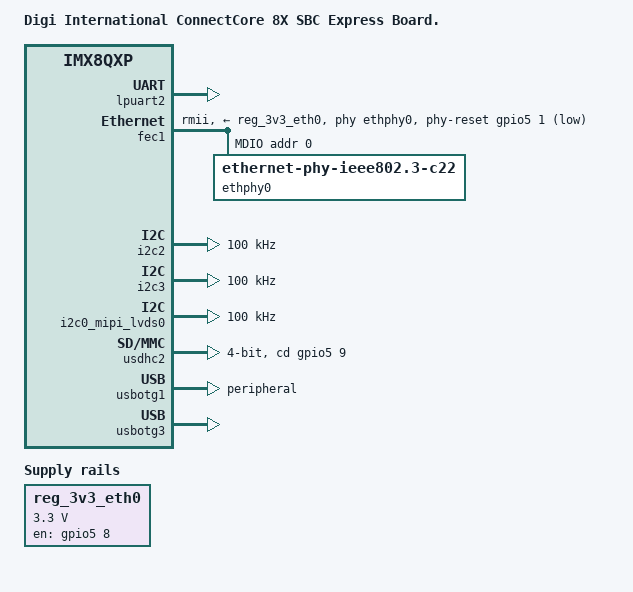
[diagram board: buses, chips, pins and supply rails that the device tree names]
/*
 * Copyright 2018 Digi International, Inc.
 *
 * The code contained herein is licensed under the GNU General Public
 * License. You may obtain a copy of the GNU General Public License
 * Version 2 or later at the following locations:
 *
 * http://www.opensource.org/licenses/gpl-license.html
 * http://www.gnu.org/copyleft/gpl.html
 */

/dts-v1/;

/* First 128KB is for PSCI ATF. */
/* Last 127M is for M4/RPMSG */
/memreserve/ 0x80000000 0x08000000;

/* i.MX8QXP CPU */
#include "fsl-imx8qxp.dtsi"
/* Digi ConnectCore 8X SOM */
#include "ccimx8x.dtsi"
/* Digi ConnectCore 8X SBC Express */
#include "ccimx8x-sbc-express-u-boot.dtsi"

/ {
	model = "Digi International ConnectCore 8X SBC Express Board.";
	compatible = "digi,ccimx8x-sbc-express", "digi,ccimx8x", "fsl,imx8qxp";
	digi,machine,name = "ccimx8x-sbc-express";

	chosen {
		bootargs = "console=ttyLP2,115200 earlycon=lpuart32,0x5a080000,115200";
		stdout-path = &lpuart2;
	};

	regulators {
		compatible = "simple-bus";
		#address-cells = <1>;
		#size-cells = <0>;

		reg_3v3_eth0: 3v3_eth0 {
			compatible = "regulator-fixed";
			regulator-name = "3V3_ETH0";
			regulator-min-microvolt = <3300000>;
			regulator-max-microvolt = <3300000>;
			gpio = <&gpio5 8 GPIO_ACTIVE_HIGH>;
			enable-active-high;
		};
	};

	thermal-zones {
		cpu-thermal0 {
			polling-delay-passive = <250>;
			polling-delay = <2000>;
			thermal-sensors = <&tsens 0>;
			trips {
				cpu_alert0: trip0 {
					temperature = <85000>;
					hysteresis = <2000>;
					type = "passive";
				};
				cpu_crit0: trip1 {
					temperature = <100000>;
					hysteresis = <2000>;
					type = "critical";
				};
			};
		};
	};

	mca_gpio_uboot: mca_gpio {
		compatible = "digi,mca-gpio";
		gpio-controller;
	};
};

&lpuart2 {
	pinctrl-names = "default";
	pinctrl-0 = <&pinctrl_lpuart2>;
	status = "okay";
};

&fec1 {
	pinctrl-names = "default";
	pinctrl-0 = <&pinctrl_fec1>, <&pinctrl_fec1_gpio>;
	phy-mode = "rmii";
	phy-handle = <&ethphy0>;
	phy-supply = <&reg_3v3_eth0>;
	phy-reset-gpios = <&gpio5 1 GPIO_ACTIVE_LOW>;
	phy-reset-duration = <26>;
	fsl,magic-packet;
	status = "okay";

	mdio {
		#address-cells = <1>;
		#size-cells = <0>;

		ethphy0: ethernet-phy@0 {
			compatible = "ethernet-phy-ieee802.3-c22";
			reg = <0>;
		};
	};
};

/* I2C2 available on Raspberry Pi expansion header */
&i2c2 {
	#address-cells = <1>;
	#size-cells = <0>;
	clock-frequency = <100000>;
	pinctrl-names = "default";
	pinctrl-0 = <&pinctrl_lpi2c2>;
	status = "okay";
};

/* I2C3 available on Raspberry Pi expansion header */
&i2c3 {
	#address-cells = <1>;
	#size-cells = <0>;
	clock-frequency = <100000>;
	pinctrl-names = "default";
	pinctrl-0 = <&pinctrl_lpi2c3>;
	status = "okay";
};

&i2c0_mipi_lvds0 {
	#address-cells = <1>;
	#size-cells = <0>;
	pinctrl-names = "default";
	pinctrl-0 = <&pinctrl_i2c0_mipi_lvds0>;
	clock-frequency = <100000>;
	status = "okay";
};

&usdhc2 {
	pinctrl-names = "default", "state_100mhz", "state_200mhz";
	pinctrl-0 = <&pinctrl_usdhc2>, <&pinctrl_usdhc2_gpio>;
	pinctrl-1 = <&pinctrl_usdhc2_100mhz>, <&pinctrl_usdhc2_gpio>;
	pinctrl-2 = <&pinctrl_usdhc2_200mhz>, <&pinctrl_usdhc2_gpio>;
	bus-width = <4>;
	no-1-8-v;
	cd-gpios = <&gpio5 9 GPIO_ACTIVE_HIGH>;
	status = "okay";
};

&usbotg1 {
	dr_mode = "peripheral";
	status = "okay";
};

&usbotg3 {
	status = "okay";
};

&iomuxc {
	pinctrl-names = "default";
	ccimx8x {

		pinctrl_lpuart2: lpuart2grp {
			fsl,pins = <
				SC_P_UART2_RX_ADMA_UART2_RX	0x06000020
				SC_P_UART2_TX_ADMA_UART2_TX	0x06000020
			>;
		};

		pinctrl_fec1_gpio: fec1gpiogrp {
			fsl,pins = <
				/* PHY reset */
				SC_P_ENET0_RGMII_TXD2_LSIO_GPIO5_IO01	0x06000021
				/* PHY power */
				SC_P_ENET0_RGMII_RXD3_LSIO_GPIO5_IO08	0x06000021
				/* PHY interrupt */
				SC_P_ENET0_RGMII_TXD3_LSIO_GPIO5_IO02	0x06000021
			>;
		};
		pinctrl_fec1: fec1grp {
			fsl,pins = <
				/*
				 * The SCFW of B0 defaults ENET0 domains to 2.5V:
				 * - VDD_ENET0_1P8_2P5_3P3
				 * - VDD_ENET0_VSELECT_1P8_2P5_3P3
				 * Turn the domains back to 1.8/3.3V detector
				 */
				SC_P_COMP_CTL_GPIO_1V8_3V3_ENET_ENETB0_PAD	0x000014a0
				SC_P_COMP_CTL_GPIO_1V8_3V3_ENET_ENETB1_PAD	0x000014a0

				/* Pad settings for ENET RMII */
				SC_P_ENET0_MDC_CONN_ENET0_MDC			0x06000048
				SC_P_ENET0_MDIO_CONN_ENET0_MDIO			0x06000048
				SC_P_ENET0_RGMII_TX_CTL_CONN_ENET0_RGMII_TX_CTL	0x06000048
				SC_P_ENET0_RGMII_TXC_CONN_ENET0_RCLK50M_OUT	0x06000048
				SC_P_ENET0_RGMII_TXD0_CONN_ENET0_RGMII_TXD0	0x06000048
				SC_P_ENET0_RGMII_TXD1_CONN_ENET0_RGMII_TXD1	0x06000048
				SC_P_ENET0_RGMII_RXD2_CONN_ENET0_RMII_RX_ER	0x06000048
				SC_P_ENET0_RGMII_RX_CTL_CONN_ENET0_RGMII_RX_CTL	0x06000048
				SC_P_ENET0_RGMII_RXD0_CONN_ENET0_RGMII_RXD0	0x06000048
				SC_P_ENET0_RGMII_RXD1_CONN_ENET0_RGMII_RXD1	0x06000048
			>;
		};

		pinctrl_lpi2c2: lpi2c2grp {
			fsl,pins = <
				SC_P_MIPI_DSI1_GPIO0_00_ADMA_I2C2_SCL	0x06000020
				SC_P_MIPI_DSI1_GPIO0_01_ADMA_I2C2_SDA	0x06000020
			>;
		};

		pinctrl_lpi2c3: lpi2c3grp {
			fsl,pins = <
				SC_P_SPI3_CS1_ADMA_I2C3_SCL	0x06000020
				SC_P_MCLK_IN1_ADMA_I2C3_SDA	0x06000020
			>;
		};

		pinctrl_usdhc2_gpio: usdhc2gpiogrp {
			fsl,pins = <
				SC_P_ENET0_REFCLK_125M_25M_LSIO_GPIO5_IO09	0x06000021
			>;
		};

		pinctrl_usdhc2: usdhc2grp {
			fsl,pins = <
				SC_P_USDHC1_CLK_CONN_USDHC1_CLK		0x06000041
				SC_P_USDHC1_CMD_CONN_USDHC1_CMD		0x06000021
				SC_P_USDHC1_DATA0_CONN_USDHC1_DATA0	0x06000021
				SC_P_USDHC1_DATA1_CONN_USDHC1_DATA1	0x06000021
				SC_P_USDHC1_DATA2_CONN_USDHC1_DATA2	0x06000021
				SC_P_USDHC1_DATA3_CONN_USDHC1_DATA3	0x06000021
			>;
		};

		pinctrl_usdhc2_100mhz: usdhc2grp100mhz {
			fsl,pins = <
				SC_P_USDHC1_CLK_CONN_USDHC1_CLK		0x06000040
				SC_P_USDHC1_CMD_CONN_USDHC1_CMD		0x06000020
				SC_P_USDHC1_DATA0_CONN_USDHC1_DATA0	0x06000020
				SC_P_USDHC1_DATA1_CONN_USDHC1_DATA1	0x06000020
				SC_P_USDHC1_DATA2_CONN_USDHC1_DATA2	0x06000020
				SC_P_USDHC1_DATA3_CONN_USDHC1_DATA3	0x06000020
			>;
		};

		pinctrl_usdhc2_200mhz: usdhc2grp200mhz {
			fsl,pins = <
				SC_P_USDHC1_CLK_CONN_USDHC1_CLK		0x06000040
				SC_P_USDHC1_CMD_CONN_USDHC1_CMD		0x06000020
				SC_P_USDHC1_DATA0_CONN_USDHC1_DATA0	0x06000020
				SC_P_USDHC1_DATA1_CONN_USDHC1_DATA1	0x06000020
				SC_P_USDHC1_DATA2_CONN_USDHC1_DATA2	0x06000020
				SC_P_USDHC1_DATA3_CONN_USDHC1_DATA3	0x06000020
			>;
		};

		pinctrl_i2c0_mipi_lvds0: mipi_lvds0_i2c0_grp {
			fsl,pins = <
				SC_P_MIPI_DSI0_I2C0_SCL_MIPI_DSI0_I2C0_SCL 0xc6000020
				SC_P_MIPI_DSI0_I2C0_SDA_MIPI_DSI0_I2C0_SDA 0xc6000020
			>;
		};
	};
};
